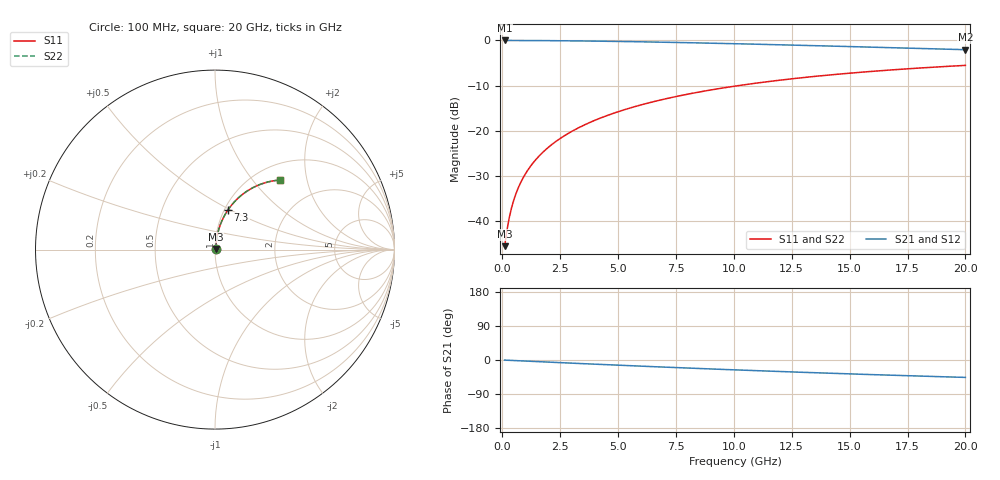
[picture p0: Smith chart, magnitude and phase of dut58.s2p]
! Touchstone file exported from HFSS 2024.1.0
!  File:  C:/UserFiles/LocalFiles/RDL_TSV_Batchsim/temp_RDL_top_58_1778681620.aedt
!  Generated:  10:16:06 PM May 13, 2026
!  Design:  RDL_top
!  Project:  temp_RDL_top_58_1778681620
!  Setup:  Setup1
!  Solution:  Sweep
! Variables:
!  dtsv = 10.80580581um
!  hbump = 3um
!  htsv = 55.6um
!  ldown = 100um
!  lrdl = 567.61um
!  p = 40
!  p1 = 59.9um
!  rhole = 1um
!  t = 450um
!  tdown = 3.915915916um
!  trdl = 4.22um
!  wdown = 15.38538539um
!  wrdl = 11.68um
# GHz S MA R 50.000000
! Terminal data exported
! Port[1] = Box2_T1
! Port[2] = Box2_T2
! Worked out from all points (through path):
!   200 points, 100 MHz to 20 GHz, reference 50 ohm
!   highest |S21| = -0.04 dB at 100 MHz (marker M1); lowest = -2.1 dB at 20 GHz (marker M2)
!   group delay of S21, straight-line fit = 6.38 ps
!   lowest |S11| = -45.5 dB at 100 MHz (marker M3), VSWR 1.01, Z = 50.4 + j0.341 ohm
!   |S11| at or under -10 dB: start of sweep to 10.2 GHz
!   |S22| runs from -45.5 to -5.5 dB; largest |S21 - S12| = 3.1e-15
!   S11 on the Smith chart (normalised r, x): 100 MHz: 1.01, +0.01; 7.3 GHz: 1.04, +0.49; 20 GHz: 1.29, +1.38
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0.1  0.005337 39.4  0.9959 -0.3  0.9959 -0.3  0.005337 39.4
! Gamma 0 0 0 0
! Port Impedance 50 0 50 0
0.2  0.007963 58.1  0.9958 -0.6  0.9958 -0.6  0.007963 58.1
0.3  0.011 66.7  0.9957 -0.9  0.9957 -0.9  0.011 66.7
0.4  0.01416 71.4  0.9955 -1.1  0.9955 -1.1  0.01416 71.4
0.5  0.01737 74.3  0.9954 -1.4  0.9954 -1.4  0.01736 74.3
0.6  0.02059 76.2  0.9952 -1.7  0.9952 -1.7  0.02059 76.2
0.8  0.02707 78.5  0.9948 -2.3  0.9948 -2.3  0.02707 78.5
1.1  0.03683 80.3  0.9942 -3.1  0.9942 -3.1  0.03682 80.3
1.5  0.04986 81.1  0.993 -4.2  0.993 -4.2  0.04986 81.1
1.8  0.05965 81.3  0.992 -5.0  0.992 -5.0  0.05965 81.3
2.1  0.06944 81.2  0.9908 -5.9  0.9908 -5.9  0.06944 81.2
2.7  0.08896 80.6  0.9879 -7.5  0.9879 -7.5  0.08897 80.6
3.5  0.1148 79.4  0.9831 -9.7  0.9831 -9.7  0.1149 79.4
4.2  0.1373 78.2  0.9781 -11.6  0.9781 -11.6  0.1373 78.2
5  0.1627 76.6  0.9716 -13.7  0.9716 -13.7  0.1627 76.6
6.8  0.2183 72.9  0.9543 -18.3  0.9543 -18.3  0.2184 72.9
7.3  0.2333 71.8  0.949 -19.5  0.949 -19.5  0.2334 71.9
8.6  0.2714 69.1  0.9343 -22.7  0.9343 -22.7  0.2715 69.1
10.1  0.3134 65.9  0.9162 -26.2  0.9162 -26.2  0.3135 65.9
13.4  0.3973 59.1  0.8738 -33.4  0.8738 -33.4  0.3974 59.2
16.7  0.4688 52.8  0.8302 -40.0  0.8302 -40.0  0.4691 52.9
20  0.5285 47.1  0.7876 -45.9  0.7876 -45.9  0.5287 47.1
